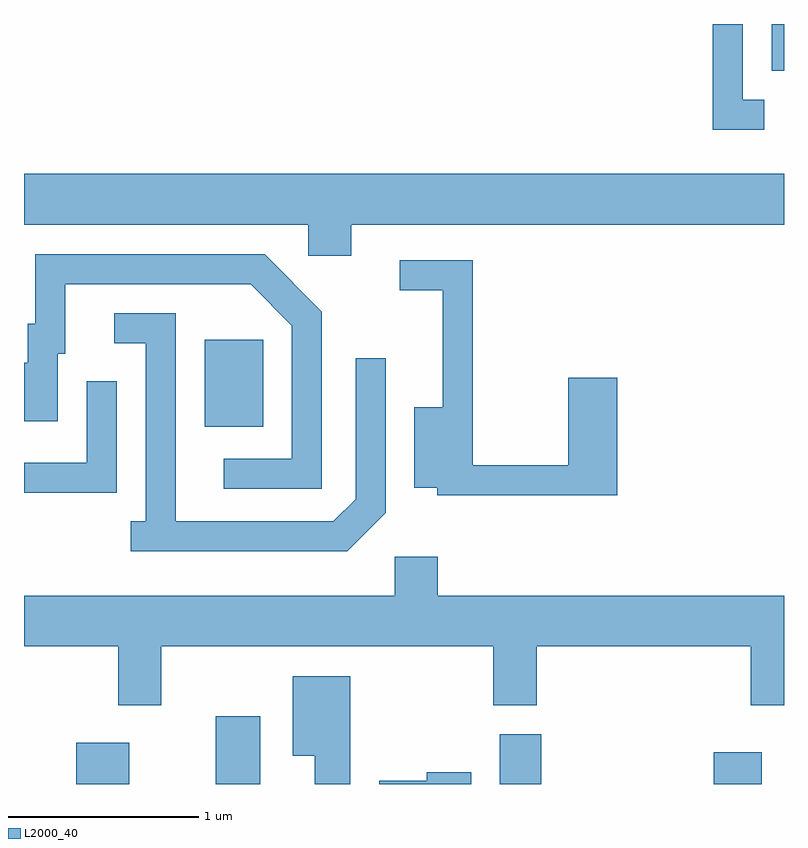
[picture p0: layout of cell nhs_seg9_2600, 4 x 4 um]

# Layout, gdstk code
import gdstk
lib = gdstk.Library(unit=1e-6, precision=1e-09)
def R(c, l, rs):  # rectangles x0, y0, x1, y1
    for r in rs: c.add(gdstk.rectangle(r[:2], r[2:], *l))
def P(c, l, *ps):  # polygons
    for p in ps: c.add(gdstk.Polygon(p, *l))
L2000_40 = (2000, 40)

nhs_seg9_2600 = lib.new_cell('nhs_seg9_2600')
R(nhs_seg9_2600, L2000_40, [(261.886,1984.432,262.164,1984.649), (262.621,1984.432,262.854,1984.789), (264.116,1984.432,264.334,1984.694), (265.241,1984.432,265.494,1984.599), (262.561,1986.311,262.869,1986.769), (265.546,1988.186,265.611,1988.432)])
P(nhs_seg9_2600, L2000_40, [(265.508,1988.034),(265.394,1988.034),(265.394,1988.432),(265.236,1988.432),(265.236,1987.876),(265.508,1987.876)],
  [(263.334,1987.376),(265.611,1987.376),(265.611,1987.644),(261.611,1987.644),(261.611,1987.376),(263.106,1987.376),(263.106,1987.211),(263.334,1987.211)],
  [(263.179,1986.917),(262.877,1987.219),(261.671,1987.219),(261.671,1986.854),(261.631,1986.854),(261.631,1986.649),(261.611,1986.649),(261.611,1986.341),(261.789,1986.341),(261.789,1986.696),(261.829,1986.696),(261.829,1987.061),(262.804,1987.061),(263.021,1986.844),(263.021,1986.144),(262.663,1986.144),(262.663,1985.986),(263.179,1985.986)],
  [(264.734,1986.569),(264.476,1986.569),(264.476,1986.109),(263.974,1986.109),(263.974,1987.189),(263.588,1987.189),(263.588,1987.031),(263.816,1987.031),(263.816,1986.414),(263.666,1986.414),(263.666,1985.991),(263.786,1985.991),(263.786,1985.951),(264.734,1985.951)],
  [(263.514,1985.859),(263.514,1986.673),(263.356,1986.673),(263.356,1985.932),(263.239,1985.814),(262.409,1985.814),(262.409,1986.909),(262.087,1986.909),(262.087,1986.751),(262.251,1986.751),(262.251,1985.814),(262.173,1985.814),(262.173,1985.656),(263.312,1985.656)],
  [(262.099,1986.553),(261.941,1986.553),(261.941,1986.124),(261.611,1986.124),(261.611,1985.966),(262.099,1985.966)],
  [(262.334,1985.156),(264.081,1985.156),(264.081,1984.846),(264.309,1984.846),(264.309,1985.156),(265.436,1985.156),(265.436,1984.846),(265.611,1984.846),(265.611,1985.424),(263.789,1985.424),(263.789,1985.629),(263.561,1985.629),(263.561,1985.424),(261.611,1985.424),(261.611,1985.156),(262.106,1985.156),(262.106,1984.846),(262.334,1984.846)],
  [(263.329,1984.999),(263.026,1984.999),(263.026,1984.581),(263.141,1984.581),(263.141,1984.432),(263.329,1984.432)],
  [(263.964,1984.494),(263.731,1984.494),(263.731,1984.449),(263.481,1984.449),(263.481,1984.432),(263.964,1984.432)])

lib.write_gds('nhs_seg9_2600.gds')
